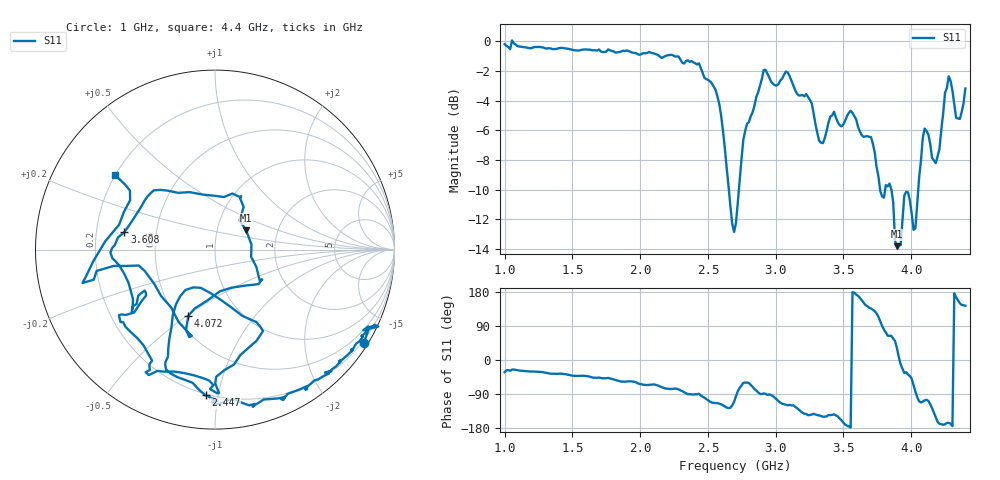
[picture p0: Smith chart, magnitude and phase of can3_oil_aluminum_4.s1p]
# MHz S MA R 50
!  freq  S11
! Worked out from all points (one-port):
!   250 points, 1 GHz to 4.4 GHz, reference 50 ohm
!   lowest |S11| = -13.8 dB at 3.895 GHz (marker M1), VSWR 1.51, Z = 69 + j15.4 ohm
!   |S11| at or under -10 dB: 2.654 GHz to 2.729 GHz (74.22 MHz wide, 2.76 % of centre); 3.77 GHz to 3.808 GHz (37.53 MHz wide, 0.99 % of centre); 3.854 GHz to 4.052 GHz (198.1 MHz wide, 5.01 % of centre)
!   S11 on the Smith chart (normalised r, x): 1 GHz: 0.15, -3.48; 2.447 GHz: 0.19, -0.92; 3.608 GHz: 0.32, +0.09; 4.072 GHz: 0.58, -0.51; 4.4 GHz: 0.20, +0.32
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1000  0.9777 -32.0
1436.948  0.9471 -37.0
1860.241  0.9231 -56.9
2283.534  0.8882 -77.6
2447.39  0.8135 -93.7
2556.627  0.6852 -113.8
2665.863  0.2783 -126.1
2706.827  0.2437 -95.8
2788.755  0.5266 -59.5
2911.647  0.7993 -88.4
3061.847  0.7706 -116.7
3130.12  0.7111 -119.5
3239.357  0.6481 -145.7
3348.594  0.4534 -149.8
3430.522  0.5785 -143.2
3553.414  0.5831 -178.4
3608.032  0.5139 169.1
3717.269  0.4514 132.5
3826.506  0.3241 64.0
3894.779  0.2038 31.6
3976.707  0.3095 -38.3
4031.325  0.2341 -83.5
4072.289  0.3965 -111.9
4126.908  0.4845 -108.2
4181.526  0.3884 -150.7
4277.108  0.7615 -165.8
4359.036  0.5471 149.8
4400  0.6929 143.3
